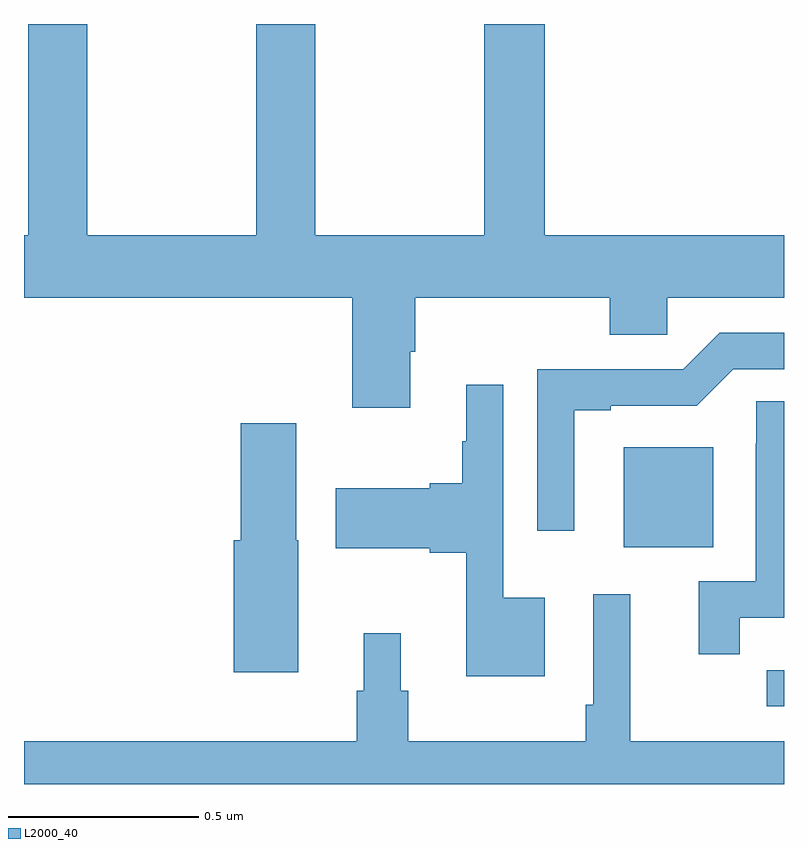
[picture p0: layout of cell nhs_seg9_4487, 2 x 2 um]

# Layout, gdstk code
import gdstk
lib = gdstk.Library(unit=1e-6, precision=1e-09)
def R(c, l, rs):  # rectangles x0, y0, x1, y1
    for r in rs: c.add(gdstk.rectangle(r[:2], r[2:], *l))
def P(c, l, *ps):  # polygons
    for p in ps: c.add(gdstk.Polygon(p, *l))
L2000_40 = (2000, 40)

nhs_seg9_4487 = lib.new_cell('nhs_seg9_4487')
R(nhs_seg9_4487, L2000_40, [(168.954,1168.704,169,1168.8), (168.578,1169.123,168.814,1169.386)])
P(nhs_seg9_4487, L2000_40, [(168.016,1169.638),(168.029,1169.638),(168.029,1169.78),(168.542,1169.78),(168.542,1169.682),(168.693,1169.682),(168.693,1169.78),(169,1169.78),(169,1169.944),(168.371,1169.944),(168.371,1170.5),(168.211,1170.5),(168.211,1169.944),(167.766,1169.944),(167.766,1170.5),(167.611,1170.5),(167.611,1169.944),(167.166,1169.944),(167.166,1170.5),(167.011,1170.5),(167.011,1169.944),(167,1169.944),(167,1169.78),(167.864,1169.78),(167.864,1169.49),(168.016,1169.49)],
  [(168.448,1169.484),(168.544,1169.484),(168.544,1169.496),(168.771,1169.496),(168.867,1169.592),(169,1169.592),(169,1169.688),(168.831,1169.688),(168.735,1169.592),(168.351,1169.592),(168.351,1169.166),(168.448,1169.166)],
  [(168.37,1168.99),(168.261,1168.99),(168.261,1169.551),(168.164,1169.551),(168.164,1169.402),(168.153,1169.402),(168.153,1169.291),(168.068,1169.291),(168.068,1169.278),(167.82,1169.278),(167.82,1169.12),(168.068,1169.12),(168.068,1169.108),(168.164,1169.108),(168.164,1168.784),(168.37,1168.784)],
  [(168.884,1168.938),(169,1168.938),(169,1169.507),(168.927,1169.507),(168.927,1169.396),(168.926,1169.396),(168.926,1169.034),(168.776,1169.034),(168.776,1168.842),(168.884,1168.842)],
  [(167.722,1169.142),(167.716,1169.142),(167.716,1169.449),(167.57,1169.449),(167.57,1169.142),(167.552,1169.142),(167.552,1168.794),(167.722,1168.794)],
  [(169,1168.612),(168.596,1168.612),(168.596,1168.999),(168.498,1168.999),(168.498,1168.708),(168.478,1168.708),(168.478,1168.612),(168.011,1168.612),(168.011,1168.746),(167.992,1168.746),(167.992,1168.897),(167.894,1168.897),(167.894,1168.746),(167.875,1168.746),(167.875,1168.612),(167,1168.612),(167,1168.5),(169,1168.5)])

lib.write_gds('nhs_seg9_4487.gds')
